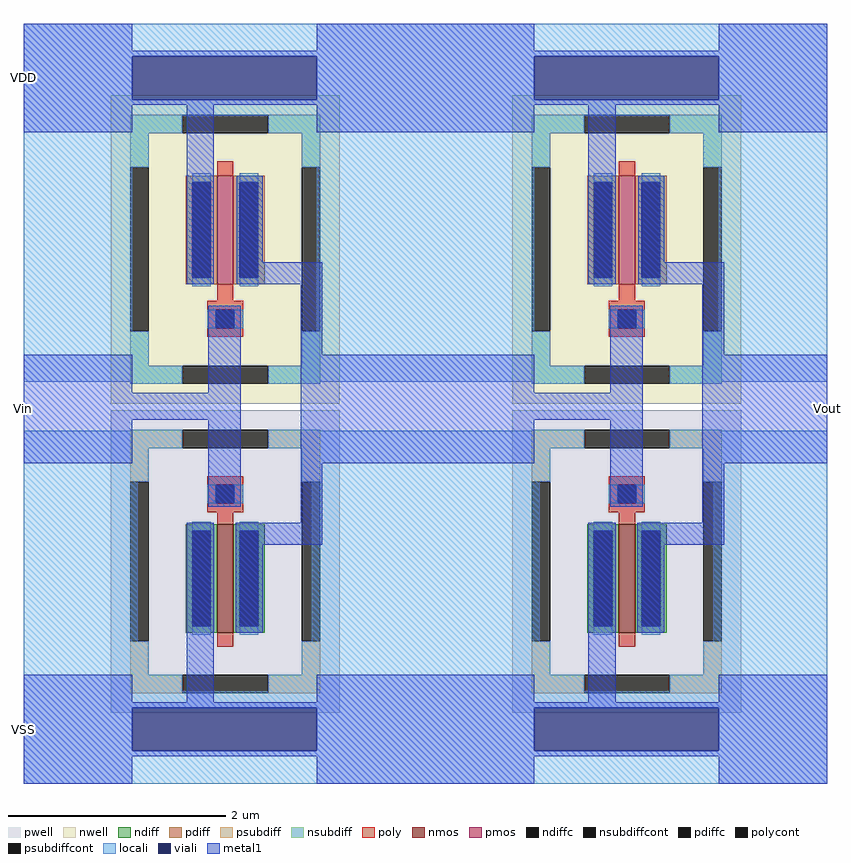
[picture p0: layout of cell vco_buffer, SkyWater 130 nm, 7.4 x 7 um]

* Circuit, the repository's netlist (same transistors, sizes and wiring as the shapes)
** sch_path: /foss/designs/git/gbsha/tt08-analog-vco/xschem/vco_buffer.sch
.subckt vco_buffer VDD VSS Vin Vout
*.PININFO VDD:B VSS:B Vin:I Vout:O
x1 VDD Vin net1 VSS vco_inverter
x2 VDD net1 Vout VSS vco_inverter
.ends

* expanding   symbol:  vco_inverter.sym # of pins=4
** sym_path: /foss/designs/git/gbsha/tt08-analog-vco/xschem/vco_inverter.sym
** sch_path: /foss/designs/git/gbsha/tt08-analog-vco/xschem/vco_inverter.sch
.subckt vco_inverter VDD Vin Vout VSS
*.PININFO VDD:B VSS:B Vin:I Vout:O
XM1 Vout Vin VSS VSS sky130_fd_pr__nfet_01v8 L=0.15 W=1 nf=1 m=1
XM2 Vout Vin VDD VDD sky130_fd_pr__pfet_01v8 L=0.15 W=1 nf=1 m=1
.ends

.end

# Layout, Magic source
magic
tech sky130A
<< metal1 >>
rect 0 595 100 695
rect 0 290 100 390
rect 640 290 740 390
rect 0 -5 100 95
use vco_inverter  vco_inverter_0
transform 1 0 -315 0 1 470
box 315 -475 685 225
use vco_inverter  vco_inverter_1
transform 1 0 55 0 1 470
box 315 -475 685 225
<< labels >>
rlabel metal1 0 645 0 645 7 VDD
port 1 w
rlabel metal1 0 340 0 340 7 Vin
port 3 w
rlabel metal1 0 45 0 45 7 VSS
port 2 w
rlabel metal1 740 340 740 340 3 Vout
port 4 e
<< end >>

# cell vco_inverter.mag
magic
tech sky130A
magscale 1 2
<< locali >>
rect 630 390 1370 450
rect 630 310 830 390
rect 1170 310 1370 390
rect 630 280 1370 310
rect 630 -210 830 280
rect 1170 -210 1370 280
rect 630 -780 840 -300
rect 1160 -780 1370 -300
rect 630 -810 1370 -780
rect 630 -890 830 -810
rect 1170 -890 1370 -810
rect 630 -950 1370 -890
<< viali >>
rect 830 310 1170 390
rect 830 -890 1170 -810
<< metal1 >>
rect 630 400 830 450
rect 1170 400 1370 450
rect 630 390 1370 400
rect 630 310 830 390
rect 1170 310 1370 390
rect 630 300 1370 310
rect 630 250 830 300
rect 930 -30 980 300
rect 1170 250 1370 300
rect 1030 10 1070 170
rect 1030 -30 1180 10
rect 630 -230 830 -160
rect 970 -230 1030 -70
rect 630 -280 1030 -230
rect 630 -360 830 -280
rect 970 -440 1030 -280
rect 1140 -160 1180 -30
rect 1140 -360 1370 -160
rect 1140 -470 1180 -360
rect 630 -800 830 -750
rect 930 -800 980 -470
rect 1020 -510 1180 -470
rect 1020 -670 1070 -510
rect 1170 -800 1370 -750
rect 630 -810 1370 -800
rect 630 -890 830 -810
rect 1170 -890 1370 -810
rect 630 -900 1370 -890
rect 630 -950 830 -900
rect 1170 -950 1370 -900
use sky130_fd_pr__nfet_01v8_64Z3AY  XM1
transform 1 0 1001 0 1 -541
box -211 -279 211 279
use sky130_fd_pr__pfet_01v8_LGS3BL  XM2
transform 1 0 1001 0 1 34
box -211 -284 211 284
<< labels >>
flabel metal1 630 250 830 450 0 FreeSans 256 0 0 0 VDD
port 0 nsew
flabel metal1 630 -360 830 -160 0 FreeSans 256 0 0 0 Vin
port 1 nsew
flabel metal1 1170 -360 1370 -160 0 FreeSans 256 0 0 0 Vout
port 2 nsew
flabel metal1 630 -950 830 -750 0 FreeSans 256 0 0 0 VSS
port 3 nsew
<< end >>

# cell sky130_fd_pr__nfet_01v8_64Z3AY: kit device sky130_fd_pr__nfet_01v8, w 1.0 l 0.15 m 1 nf 1 diffcov 100 polycov 100 guard 1 glc 1 grc 1 gtc 1 gbc 1 tbcov 100 rlcov 100 topc 1 botc 0 poverlap 0 doverlap 1 lmin 0.15 wmin 0.42 compatible {sky130_fd_pr__nfet_01v8 sky130_fd_pr__nfet_01v8_lvt sky130_fd_bs_flash__special_sonosfet_star sky130_fd_pr__nfet_g5v0d10v5 sky130_fd_pr__nfet_05v0_nvt sky130_fd_pr__nfet_03v3_nvt} full_metal 1 viasrc 100 viadrn 100 viagate 100 viagb 0 viagr 0 viagl 0 viagt 0

# cell sky130_fd_pr__pfet_01v8_LGS3BL: kit device sky130_fd_pr__pfet_01v8, w 1.0 l 0.15 m 1 nf 1 diffcov 100 polycov 100 guard 1 glc 1 grc 1 gtc 1 gbc 1 tbcov 100 rlcov 100 topc 0 botc 1 poverlap 0 doverlap 1 lmin 0.15 wmin 0.42 compatible {sky130_fd_pr__pfet_01v8 sky130_fd_pr__pfet_01v8_lvt sky130_fd_pr__pfet_01v8_hvt sky130_fd_pr__pfet_g5v0d10v5} full_metal 1 viasrc 100 viadrn 100 viagate 100 viagb 0 viagr 0 viagl 0 viagt 0
